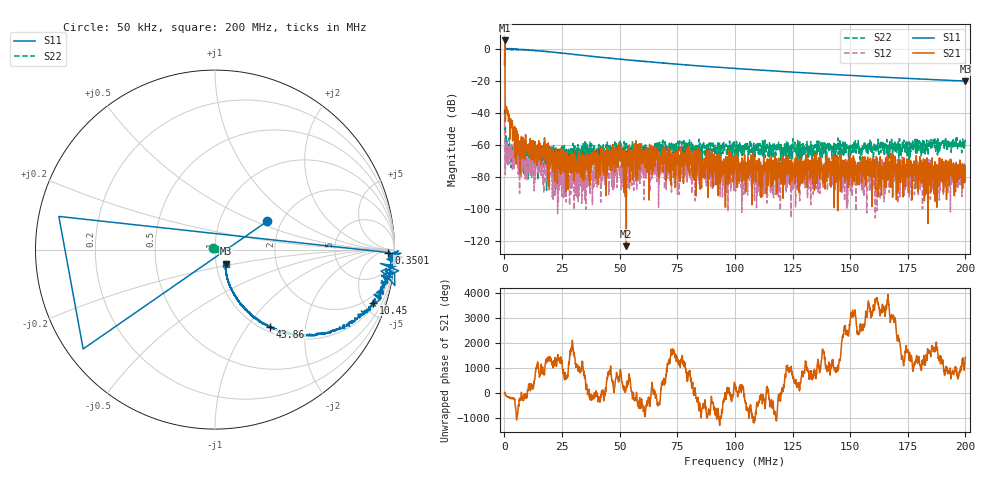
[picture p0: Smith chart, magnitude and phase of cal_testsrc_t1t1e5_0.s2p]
! 26-Feb-26 1:37:10 PM
! E:\VNA_MEASUREMENTS\CAL_S11\CAL_TESTSRC_T1T1E5_0.S2P
! CHANNEL.1
! TR.MEASUREMENT
! CORRECTED.DATA
# GHZ S RI R 50.0
! FREQ.GHZ  S11RE  S11IM  S21RE  S21IM  S12RE  S12IM  S22RE  S22IM
!; PortSelection: Port_12
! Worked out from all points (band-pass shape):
!   2000 points, 50 kHz to 200 MHz, reference 50 ohm
!   highest |S21| = 5.31 dB at 150 kHz (marker M1); lowest = -123.5 dB at 52.86 MHz (marker M2)
!   |S21| within 3 dB of the highest: 130.1 kHz to 161.3 kHz (31.22 kHz wide, 21.4 % of centre)
!   lowest |S11| = -20.2 dB at 200 MHz (marker M3), VSWR 1.22, Z = 55.6 - j8.79 ohm
!   |S11| at or under -10 dB: 78.70501 MHz to 78.7966 MHz (91.59 kHz wide, 0.116 % of centre); 78.95 MHz to 79.86 MHz (909 kHz wide, 1.14 % of centre); 79.88 MHz to end of sweep
!   |S22| runs from -88.6 to -37.8 dB; largest |S21 - S12| = 1.8
!   S11 on the Smith chart (normalised r, x): 50 kHz: 1.69, +0.60; 350.1 kHz: 47, -24; 10.45 MHz: 1.36, -5.83; 43.86 MHz: 1.09, -1.30; 200 MHz: 1.11, -0.18
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5e-05  0.2909 0.1577  0.3234 -0.0395  -0.00508 -0.000898  -0.00837 0.00974
0.000150025  -0.7344 -0.5535  1.765 0.5318  0.000219 0.000336  0.00227 0.000421
0.000350075  0.9665 -0.0164  0.00182 -0.00527  -2.24e-05 -0.000115  -0.00389 0.000328
0.001350325  1.021 -0.0793  -0.012 -0.00233  -0.000141 -0.00031  -0.00026 -0.000447
0.005851451  0.9459 -0.1993  0.00194 0.000806  -0.000394 3.81e-05  -0.000166 -0.000378
0.0104526  0.8804 -0.2948  0.00058 -0.000868  -0.000135 0.000194  0.000322 -8.54e-05
0.03345835  0.4268 -0.472  -7.99e-05 -0.000331  9.7e-06 3.37e-05  0.000675 0.000583
0.04386096  0.3088 -0.4286  -0.000173 -5.91e-05  -1.76e-05 -0.000113  0.00025 -0.000318
0.04976243  0.2597 -0.4054  -0.00031 0.000583  0.000191 9.6e-05  0.000228 0.000642
0.05286321  0.242 -0.3931  -6e-07 -3e-07  4.62e-05 7.77e-05  0.000827 0.000662
0.06676668  0.1706 -0.3321  -0.000357 -0.000297  0.000221 0.000165  0.000347 0.000479
0.07936983  0.1294 -0.2848  -0.000443 0.000229  2.65e-05 -0.000135  0.000373 0.000552
0.08217054  0.1225 -0.276  -6.14e-05 -0.000179  -6.79e-05 -0.000235  0.000518 0.000451
0.08347086  0.1193 -0.2694  3.15e-05 0.000138  -0.000161 7.89e-05  0.000494 0.000293
0.08557139  0.1165 -0.2653  0.000315 0.000122  0.000354 4e-07  0.000173 0.000267
0.08757189  0.1134 -0.2599  -3.49e-05 -0.000241  3.41e-05 -3.96e-05  0.000344 0.000566
0.100075  0.0941 -0.2266  0.000141 -0.00012  -3.14e-05 -1.93e-05  0.000504 0.000611
0.1333833  0.0681 -0.1595  0.00031 -0.000249  0.000251 -0.0002  0.000637 0.000751
0.1607902  0.0599 -0.1203  0.000338 5.75e-05  1.34e-05 -0.000116  0.000569 0.000783
0.1642911  0.0609 -0.1154  -0.000134 6.56e-05  -0.000142 -7.4e-05  0.000763 0.000367
0.1666917  0.0598 -0.113  -3e-07 -0.000253  -3.77e-05 -0.000114  0.000923 0.000428
0.2  0.0593 -0.0783  6.98e-05 -4.28e-05  -2.85e-05 -0.000109  0.000773 0.00101
